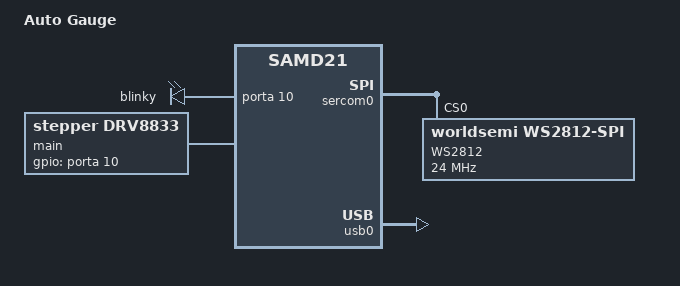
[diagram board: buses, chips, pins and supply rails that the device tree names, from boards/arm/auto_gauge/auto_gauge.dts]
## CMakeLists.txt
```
set(BOARD_ROOT ${CMAKE_CURRENT_LIST_DIR})
set(BOARD auto_gauge)

cmake_minimum_required(VERSION 3.13.1)

find_package(Zephyr REQUIRED HINTS $ENV{ZEPHYR_BASE})

project(auto-gauge)

target_sources(app PRIVATE src/main.c)
```

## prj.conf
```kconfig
CONFIG_WS2812_STRIP=y
CONFIG_WS2812_STRIP_SPI=y
CONFIG_LED_STRIP=y
CONFIG_SPI=y
```

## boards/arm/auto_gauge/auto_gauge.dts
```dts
/dts-v1/;
#include <atmel/samd21.dtsi>

/ {
	model = "Auto Gauge";
	compatible = "auto_gauge", "atmel,samd21e18a", "atmel,samd21";

	chosen {
		zephyr,console = &sercom0;
		zephyr,shell-uart = &sercom0;
		zephyr,sram = &sram0;
		zephyr,flash = &flash0;
		zephyr,code-partition = &code_partition;
	};

	leds {
		compatible = "gpio-leds";
		led0: led_0 {
			gpios = <&porta 10 0>;
			label = "blinky";
		};
	};

	gauge: drv8833_0 {
		status = "okay";
		compatible = "stepper,drv8833";
		id = <2>;
		gpios = <&porta 10 0>;
		label = "main";
	};
};

&cpu0 {
	clock-frequency = <48000000>;
};

&sercom0 {
	#address-cells = <1>;
	#size-cells = <0>;
	status = "okay";
	compatible = "atmel,sam0-spi";
	//current-speed = <115200>;
	dipo = <2>;
	dopo = <1>;

	led_strip: ws2812@0 {
		compatible = "worldsemi,ws2812-spi";
		label = "WS2812";

		reg = <0>;
		spi-max-frequency = <24000000>;


		chain-length = <12>;
		spi-one-frame = <0x70>;
		spi-zero-frame = <0x00>;

	};
};

//missing 2 more sercoms...

&flash0 {
	partitions {
		compatible = "fixed-partitions";
		#address-cells = <1>;
		#size-cells = <1>;

		// is this needed if we dont use a bootloader?
		boot_partition: partition@0 {
			label = "uf2";
			reg = <0x00000000 0x2000>;
			read-only;
		};

		code_partition: partition@2000 {
			label = "code";
			reg = <0x2000 0x3A000>;
			read-only;
		};

		storage_partition: partition@3c000 {
			label = "storage";
			reg = <0x0003c000 0x4000>;
		};
	};
};

&usb0 {
	status = "okay";
};
```

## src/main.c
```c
#include <zephyr.h>
#include <device.h>
#include <devicetree.h>
#include <drivers/gpio.h>
#include <drivers/stepper.h>
#include <usb/usb_device.h>
#include <logging/log.h>

LOG_MODULE_REGISTER(auto_gauge, LOG_LEVEL_INF);

/* 1000 msec = 1 sec */
#define SLEEP_TIME_MS   1000

#define LED_RING DT_LABEL(DT_NODELABEL(led_strip))

/* The devicetree node identifier for the "led0" alias. */
//#define LED0_NODE DT_NODELABEL(led0)

/*#if DT_NODE_HAS_STATUS(LED0_NODE, okay)
#define LED0	DT_GPIO_LABEL(LED0_NODE, gpios)
#define PIN	DT_GPIO_PIN(LED0_NODE, gpios)
#define FLAGS	DT_GPIO_FLAGS(LED0_NODE, gpios)
#else
#error "Unsupported board: led0 devicetree alias is not defined"
#endif
*/

/*
#define GAUGE_NODE DT_NODELABEL(gauge)
#if DT_NODE_HAS_STATUS(GAUGE_NODE, okay)
#define GAUGE DT_PROP(GAUGE_NODE, label)
#else
#error "Gauge not setup in DTS correctly"
#endif
*/

const struct led_rgb red = { .r = 0xf, .g = 0x0, .b = 0x0, };
struct led_rgb pixels[12] = {0};

void main(void)
{
	const struct device *dev;
	//const struct device *gauge;
	bool led_is_on = true;
	int ret = 0;

	ret = usb_enable(NULL);

	if(ret != 0){
		LOG_ERR("USB enable failed");
		return;
	}

/*	dev = device_get_binding(LED0);
	if (dev == NULL) {
		LOG_ERR("LED init failed");
		return;
	}
        */

        /*
	gauge = device_get_binding(GAUGE);
	if(gauge == NULL) {
		LOG_ERR("Gauge init failed");
	}
        */

/*	ret = gpio_pin_configure(dev, PIN, GPIO_OUTPUT_ACTIVE | FLAGS);
	if (ret < 0) {
		LOG_ERR("LED pin configure failed");
		return;
	}
*/
	int i =0;
	int x = 0;
	while (1) {
	/*	gpio_pin_set(dev, PIN, (int)led_is_on);
		led_is_on = !led_is_on;
		k_msleep(200);
		LOG_INF("testing %d", i);
		if(gauge) stepper_toggle(gauge);*/
		i++;
		x++;
		if(x >= 12) x =0;
	}
}
```
